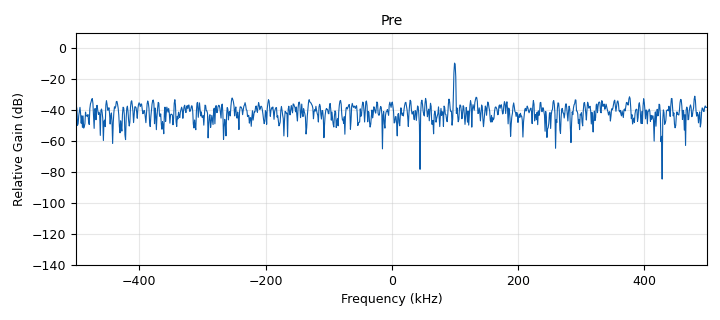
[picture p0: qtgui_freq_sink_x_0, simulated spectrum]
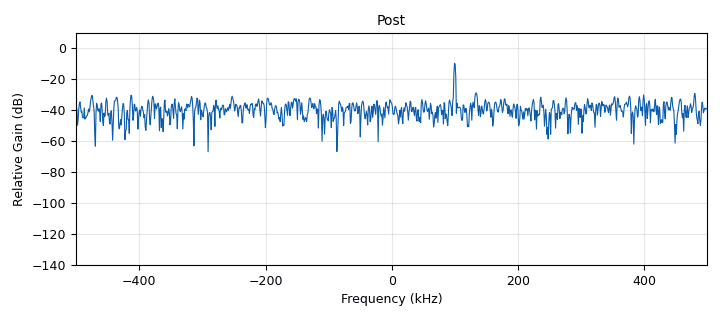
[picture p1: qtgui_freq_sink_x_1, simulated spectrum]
<?xml version='1.0' encoding='utf-8'?>
<?grc format='1' created='3.7.12'?>
<flow_graph>
<block>
<key>options</key>
<param><key>id</key><value>top_block</value></param>
<param><key>generate_options</key><value>qt_gui</value></param>
</block>
<block>
<key>variable</key>
<param><key>id</key><value>samp_rate</value></param>
<param><key>value</key><value>1e6</value></param>
</block>
<block>
<key>analog_noise_source_x</key>
<param><key>id</key><value>analog_noise_source_x_0</value></param>
<param><key>amp</key><value>0.7</value></param>
<param><key>noise_type</key><value>analog.GR_GAUSSIAN</value></param>
<param><key>type</key><value>complex</value></param>
<param><key>seed</key><value>0</value></param>
</block>
<block>
<key>analog_sig_source_x</key>
<param><key>id</key><value>analog_sig_source_x_0</value></param>
<param><key>amp</key><value>1</value></param>
<param><key>freq</key><value>100000</value></param>
<param><key>offset</key><value>0</value></param>
<param><key>type</key><value>complex</value></param>
<param><key>samp_rate</key><value>samp_rate</value></param>
<param><key>waveform</key><value>analog.GR_COS_WAVE</value></param>
</block>
<block>
<key>blocks_add_xx</key>
<param><key>id</key><value>blocks_add_xx_0</value></param>
<param><key>type</key><value>complex</value></param>
</block>
<block>
<key>blocks_complex_to_interleaved_short</key>
<param><key>id</key><value>blocks_complex_to_interleaved_short_0</value></param>
<param><key>vector_output</key><value>False</value></param>
</block>
<block>
<key>blocks_interleaved_short_to_complex</key>
<param><key>id</key><value>blocks_interleaved_short_to_complex_0</value></param>
<param><key>vector_input</key><value>False</value></param>
</block>
<block>
<key>blocks_multiply_const_vxx</key>
<param><key>id</key><value>blocks_multiply_const_vxx_0</value></param>
<param><key>const</key><value>1</value></param>
<param><key>type</key><value>complex</value></param>
</block>
<block>
<key>blocks_throttle</key>
<param><key>id</key><value>blocks_throttle_0</value></param>
<param><key>samples_per_second</key><value>samp_rate</value></param>
<param><key>type</key><value>complex</value></param>
</block>
<block>
<key>qtgui_freq_sink_x</key>
<param><key>id</key><value>qtgui_freq_sink_x_0</value></param>
<param><key>bw</key><value>samp_rate</value></param>
<param><key>fc</key><value>0</value></param>
<param><key>fftsize</key><value>1024</value></param>
<param><key>gui_hint</key><value>0,0,0,0</value></param>
<param><key>name</key><value>"Pre"</value></param>
<param><key>showports</key><value>True</value></param>
<param><key>type</key><value>complex</value></param>
<param><key>wintype</key><value>firdes.WIN_BLACKMAN_hARRIS</value></param>
</block>
<block>
<key>qtgui_freq_sink_x</key>
<param><key>id</key><value>qtgui_freq_sink_x_1</value></param>
<param><key>bw</key><value>samp_rate</value></param>
<param><key>fc</key><value>0</value></param>
<param><key>fftsize</key><value>1024</value></param>
<param><key>name</key><value>"Post"</value></param>
<param><key>showports</key><value>True</value></param>
<param><key>type</key><value>complex</value></param>
<param><key>wintype</key><value>firdes.WIN_BLACKMAN_hARRIS</value></param>
</block>
<connection><source_block_id>analog_noise_source_x_0</source_block_id><sink_block_id>blocks_add_xx_0</sink_block_id><source_key>0</source_key><sink_key>0</sink_key></connection>
<connection><source_block_id>analog_sig_source_x_0</source_block_id><sink_block_id>blocks_add_xx_0</sink_block_id><source_key>0</source_key><sink_key>1</sink_key></connection>
<connection><source_block_id>blocks_add_xx_0</source_block_id><sink_block_id>blocks_throttle_0</sink_block_id><source_key>0</source_key><sink_key>0</sink_key></connection>
<connection><source_block_id>blocks_complex_to_interleaved_short_0</source_block_id><sink_block_id>blocks_interleaved_short_to_complex_0</sink_block_id><source_key>0</source_key><sink_key>0</sink_key></connection>
<connection><source_block_id>blocks_interleaved_short_to_complex_0</source_block_id><sink_block_id>qtgui_freq_sink_x_1</sink_block_id><source_key>0</source_key><sink_key>0</sink_key></connection>
<connection><source_block_id>blocks_multiply_const_vxx_0</source_block_id><sink_block_id>blocks_complex_to_interleaved_short_0</sink_block_id><source_key>0</source_key><sink_key>0</sink_key></connection>
<connection><source_block_id>blocks_throttle_0</source_block_id><sink_block_id>blocks_multiply_const_vxx_0</sink_block_id><source_key>0</source_key><sink_key>0</sink_key></connection>
<connection><source_block_id>blocks_throttle_0</source_block_id><sink_block_id>qtgui_freq_sink_x_0</sink_block_id><source_key>0</source_key><sink_key>0</sink_key></connection>
</flow_graph>
